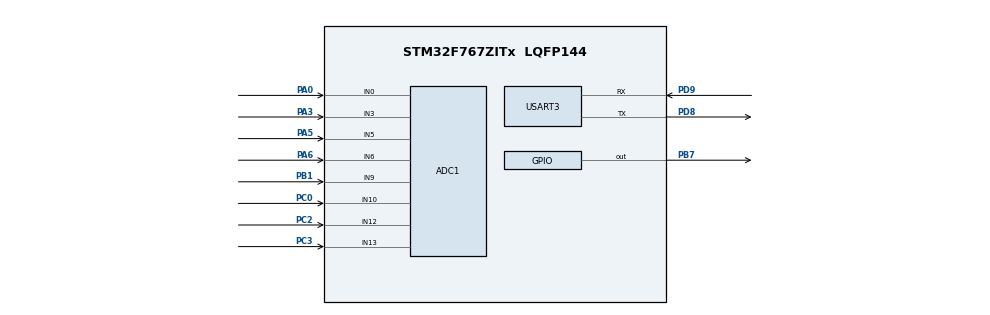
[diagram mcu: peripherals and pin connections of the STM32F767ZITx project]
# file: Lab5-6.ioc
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ADC1.Channel-0\#ChannelRegularConversion=ADC_CHANNEL_0
ADC1.Channel-1\#ChannelRegularConversion=ADC_CHANNEL_3
ADC1.Channel-2\#ChannelRegularConversion=ADC_CHANNEL_5
ADC1.Channel-3\#ChannelRegularConversion=ADC_CHANNEL_6
ADC1.Channel-4\#ChannelRegularConversion=ADC_CHANNEL_9
ADC1.Channel-5\#ChannelRegularConversion=ADC_CHANNEL_10
ADC1.Channel-6\#ChannelRegularConversion=ADC_CHANNEL_12
ADC1.Channel-7\#ChannelRegularConversion=ADC_CHANNEL_13
ADC1.ClockPrescaler=ADC_CLOCK_SYNC_PCLK_DIV8
ADC1.ContinuousConvMode=ENABLE
ADC1.DMAContinuousRequests=ENABLE
ADC1.EOCSelection=ADC_EOC_SINGLE_CONV
ADC1.NbrOfConversion=8
ADC1.NbrOfConversionFlag=1
ADC1.Rank-0\#ChannelRegularConversion=1
ADC1.Rank-1\#ChannelRegularConversion=2
ADC1.Rank-2\#ChannelRegularConversion=3
ADC1.Rank-3\#ChannelRegularConversion=4
ADC1.Rank-4\#ChannelRegularConversion=5
ADC1.Rank-5\#ChannelRegularConversion=6
ADC1.Rank-6\#ChannelRegularConversion=7
ADC1.Rank-7\#ChannelRegularConversion=8
ADC1.SamplingTime-0\#ChannelRegularConversion=ADC_SAMPLETIME_15CYCLES
ADC1.SamplingTime-1\#ChannelRegularConversion=ADC_SAMPLETIME_15CYCLES
ADC1.SamplingTime-2\#ChannelRegularConversion=ADC_SAMPLETIME_15CYCLES
ADC1.SamplingTime-3\#ChannelRegularConversion=ADC_SAMPLETIME_15CYCLES
ADC1.SamplingTime-4\#ChannelRegularConversion=ADC_SAMPLETIME_15CYCLES
ADC1.SamplingTime-5\#ChannelRegularConversion=ADC_SAMPLETIME_15CYCLES
ADC1.SamplingTime-6\#ChannelRegularConversion=ADC_SAMPLETIME_15CYCLES
ADC1.SamplingTime-7\#ChannelRegularConversion=ADC_SAMPLETIME_15CYCLES
ADC1.master=1
Dma.ADC1.0.Direction=DMA_PERIPH_TO_MEMORY
Dma.ADC1.0.FIFOMode=DMA_FIFOMODE_ENABLE
Dma.ADC1.0.FIFOThreshold=DMA_FIFO_THRESHOLD_FULL
Dma.ADC1.0.Instance=DMA2_Stream0
Dma.ADC1.0.MemBurst=DMA_MBURST_SINGLE
Dma.ADC1.0.MemDataAlignment=DMA_MDATAALIGN_WORD
Dma.ADC1.0.MemInc=DMA_MINC_ENABLE
Dma.ADC1.0.Mode=DMA_CIRCULAR
Dma.ADC1.0.PeriphBurst=DMA_PBURST_SINGLE
Dma.ADC1.0.PeriphDataAlignment=DMA_PDATAALIGN_WORD
Dma.ADC1.0.PeriphInc=DMA_PINC_DISABLE
Dma.ADC1.0.Priority=DMA_PRIORITY_LOW
Dma.Request0=ADC1
Mcu.Family=STM32F7
Mcu.Name=STM32F767ZITx
Mcu.Package=LQFP144
NVIC.DMA2_Stream0_IRQn=true\:1\:0\:true\:false\:true\:false\:true\:true
NVIC.PriorityGroup=NVIC_PRIORITYGROUP_2
PA0/WKUP.Signal=ADCx_IN0
PA3.Signal=ADCx_IN3
PA5.Signal=ADCx_IN5
PA6.Signal=ADCx_IN6
PB1.Signal=ADCx_IN9
PB7.Signal=GPIO_Output
PC0.Signal=ADCx_IN10
PC2.Signal=ADCx_IN12
PC3.Signal=ADCx_IN13
PD8.Mode=Asynchronous
PD8.Signal=USART3_TX
PD9.Mode=Asynchronous
PD9.Signal=USART3_RX
ProjectManager.HeapSize=0x200
ProjectManager.StackSize=0x400
ProjectManager.TargetToolchain=STM32CubeIDE
RCC.AHBCLKDivider=RCC_SYSCLK_DIV2
RCC.AHBFreq_Value=8000000
RCC.APB1Freq_Value=8000000
RCC.APB1TimFreq_Value=8000000
RCC.APB2Freq_Value=8000000
RCC.APB2TimFreq_Value=8000000
RCC.CortexFreq_Value=8000000
RCC.HCLKFreq_Value=8000000
RCC.HSE_VALUE=25000000
RCC.HSI_VALUE=16000000
RCC.LSE_VALUE=32768
RCC.USBFreq_Value=96000000
RCC.VCOOutputFreq_Value=192000000
SH.ADCx_IN0.0=ADC1_IN0,IN0
SH.ADCx_IN10.0=ADC1_IN10,IN10
SH.ADCx_IN12.0=ADC1_IN12,IN12
SH.ADCx_IN13.0=ADC1_IN13,IN13
SH.ADCx_IN3.0=ADC1_IN3,IN3
SH.ADCx_IN5.0=ADC1_IN5,IN5
SH.ADCx_IN6.0=ADC1_IN6,IN6
SH.ADCx_IN9.0=ADC1_IN9,IN9
USART3.VirtualMode-Asynchronous=VM_ASYNC
board=custom

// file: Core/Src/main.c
/* USER CODE BEGIN Header */
/**
  ******************************************************************************
  * @file           : main.c
  * @brief          : Main program body
  ******************************************************************************
  * @attention
  *
  * Copyright (c) 2023 STMicroelectronics.
  * All rights reserved.
  *
  * This software is licensed under terms that can be found in the LICENSE file
  * in the root directory of this software component.
  * If no LICENSE file comes with this software, it is provided AS-IS.
  *
  ******************************************************************************
  */
/* USER CODE END Header */
#include "main.h"
#include "adc.h"
#include "dma.h"
#include "usart.h"
#include "gpio.h"

/* USER CODE BEGIN Includes */
#include "stdio.h"
#include "string.h"
/* USER CODE END Includes */

/* USER CODE BEGIN PM */
#define print(x) HAL_UART_Transmit(&huart3, (uint8_t *)x, strlen(x), 1000)
/* USER CODE END PM */

/* USER CODE BEGIN PV */
const float vmax = 5.0f;
const int resobit = 12;

uint32_t adc_val[8];
char* adc_ch[8] = {"ADC1_CH0  ", "ADC1_CH3  ", "ADC1_CH5  ", "ADC1_CH6  ", "ADC1_CH9  ", "ADC1_CH10 ", "ADC1_CH12 ", "ADC1_CH13 "};
/* USER CODE END PV */

void SystemClock_Config(void);

/* USER CODE BEGIN 0 */
void displayHEX(uint32_t value) {
	char hexString[9];
	sprintf(hexString, "0x%08X", value);

	while (__HAL_UART_GET_FLAG(&huart3,UART_FLAG_TC) == RESET) {
	}
	HAL_UART_Transmit(&huart3, (uint32_t*) hexString, strlen(hexString), 1000);

}
/* USER CODE END 0 */

int main(void)
{

  /* MCU Configuration--------------------------------------------------------*/

  /* Reset of all peripherals, Initializes the Flash interface and the Systick. */
  HAL_Init();

  /* Configure the system clock */
  SystemClock_Config();

  /* Initialize all configured peripherals */
  MX_GPIO_Init();
  MX_DMA_Init();
  MX_ADC1_Init();
  MX_USART3_UART_Init();
  /* USER CODE BEGIN 2 */
  HAL_ADC_Start_DMA(&hadc1, adc_val, 8);
  /* USER CODE END 2 */

  /* Infinite loop */
  while (1)
  {

  }
}

void SystemClock_Config(void)
{
  RCC_OscInitTypeDef RCC_OscInitStruct = {0};
  RCC_ClkInitTypeDef RCC_ClkInitStruct = {0};

  /** Configure the main internal regulator output voltage
  */
  __HAL_RCC_PWR_CLK_ENABLE();
  __HAL_PWR_VOLTAGESCALING_CONFIG(PWR_REGULATOR_VOLTAGE_SCALE3);

  /** Initializes the RCC Oscillators according to the specified parameters
  * in the RCC_OscInitTypeDef structure.
  */
  RCC_OscInitStruct.OscillatorType = RCC_OSCILLATORTYPE_HSI;
  RCC_OscInitStruct.HSIState = RCC_HSI_ON;
  RCC_OscInitStruct.HSICalibrationValue = RCC_HSICALIBRATION_DEFAULT;
  RCC_OscInitStruct.PLL.PLLState = RCC_PLL_NONE;
  if (HAL_RCC_OscConfig(&RCC_OscInitStruct) != HAL_OK)
  {
    Error_Handler();
  }

  /** Initializes the CPU, AHB and APB buses clocks
  */
  RCC_ClkInitStruct.ClockType = RCC_CLOCKTYPE_HCLK|RCC_CLOCKTYPE_SYSCLK
                              |RCC_CLOCKTYPE_PCLK1|RCC_CLOCKTYPE_PCLK2;
  RCC_ClkInitStruct.SYSCLKSource = RCC_SYSCLKSOURCE_HSI;
  RCC_ClkInitStruct.AHBCLKDivider = RCC_SYSCLK_DIV2;
  RCC_ClkInitStruct.APB1CLKDivider = RCC_HCLK_DIV1;
  RCC_ClkInitStruct.APB2CLKDivider = RCC_HCLK_DIV1;

  if (HAL_RCC_ClockConfig(&RCC_ClkInitStruct, FLASH_LATENCY_0) != HAL_OK)
  {
    Error_Handler();
  }
}

/* USER CODE BEGIN 4 */
void HAL_ADC_ConvCpltCallback(ADC_HandleTypeDef* hadc)
{

	HAL_GPIO_WritePin(GPIOB, GPIO_PIN_7, 0);
	print("LED OFF \n\r");
	for (int i = 0; i < 8; i++)
	{
	  if(i==4){
		  print("\n");
	  }
	  print(adc_ch[i]);
	  float vin = adc_val[i] * vmax / 4095;
	  char vin_str[6];
	  sprintf(vin_str, "%.2f", vin);
	  print(vin_str);
	  print("\t");
	  displayHEX(adc_val[i]);
	  print("\n\r");
	}
	print("\n\r");
	print("===============================================");
		print("\n\r");
	HAL_Delay(300);
}

void HAL_ADC_ConvHalfCpltCallback(ADC_HandleTypeDef* hadc)
{
	HAL_GPIO_WritePin(GPIOB, GPIO_PIN_7, 1);
	print("LED ON \n\r");
	for (int i = 0; i < 8; i++)
	{
	  if(i==4){
		print("\n");
	  }
	  print(adc_ch[i]);
	  float vin = adc_val[i] * vmax /4095;
	  char vin_str[6];
	  sprintf(vin_str, "%.2f", vin);
	  print(vin_str);
	  print("\t");
	  displayHEX(adc_val[i]);
	  print("\n\r");
	}
	print("\n\r");
	print("===============================================");
	print("\n\r");
	HAL_Delay(300);

}
/* USER CODE END 4 */

void Error_Handler(void)
{
  __disable_irq();
  while (1)
  {
  }
}
